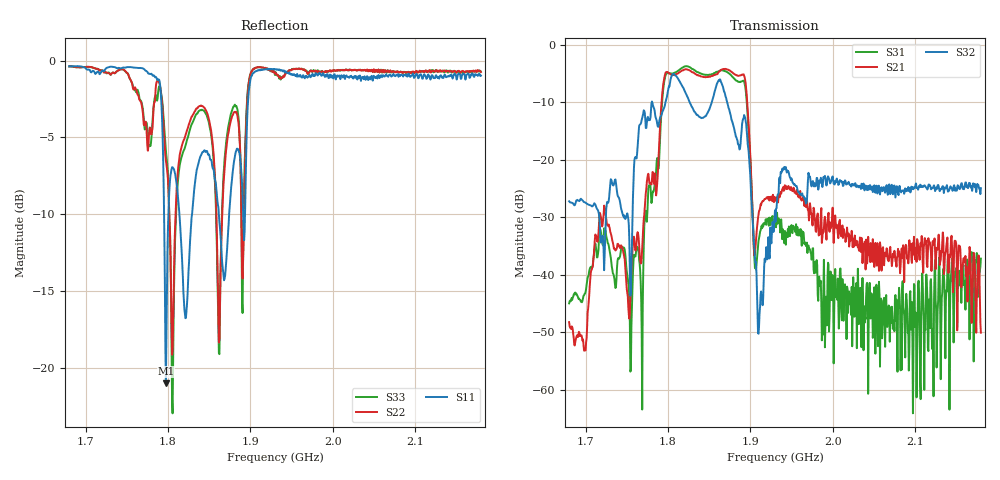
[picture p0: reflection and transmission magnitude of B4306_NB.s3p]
! Matrix data file written by TouchstoneData, EPCOS AG
! FILENAME: "B4306_02_NB.s3p_newformat"
! COMMENT: "(B4306_02_NB.s3p) Epcos AG 3/15/2011 3:53:15"
! INFO: nport=3, nfreq=801
! DATE: "Mon Apr 18 17:36:59 2011"
! USER: "Sergey Rostovtsev"
! port | pin | signal
!  1  |  1  |  in
!  2  |  3  |  out
!  3  |  4  |  out
# MHZ S MA R 50
! freq  magS11 angS11  magS12 angS12  magS13 angS13  ...
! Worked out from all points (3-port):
!   801 points, 1.68 GHz to 2.18 GHz, reference 50 ohm
!   strongest paths, dB at 1.68 GHz, 1.805 GHz, 1.93 GHz, 2.055 GHz, 2.18 GHz:
!     S32: -27.2, -5.3, -28.8, -25.1, -25.0
!     S21: -48.3, -5.3, -27.0, -36.2, -50.1
!     S31: -45.0, -5.0, -29.7, -52.4, -37.2
!   lowest |S11| = -21.0 dB at 1.798 GHz (marker M1), VSWR 1.20, Z = 41.9 - j0.826 ohm
!   |S11| at or under -10 dB: 1.795297 GHz to 1.80057 GHz (5.273 MHz wide, 0.293 % of centre); 1.814 GHz to 1.829 GHz (15.33 MHz wide, 0.841 % of centre); 1.862 GHz to 1.874 GHz (12.5 MHz wide, 0.669 % of centre) (the widest 3 of 4)
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1680  0.9573 -111.1  0.004022 2.8  0.005717 37.3
      0.003868 2.9  0.9572 -79.1  0.0435 23.7
      0.00563 37.4  0.04342 23.7  0.9568 -79.8
1723.125  0.929 -117.5  0.03847 33.3  0.02501 -156.5
          0.03854 33.5  0.9156 -87.3  0.01466 88.1
          0.02462 -156.5  0.01508 88.2  0.9214 -88.4
1754.375  0.9523 -131.4  0.006954 73.7  0.001477 123.6
          0.006659 73.7  0.8676 -101.4  0.006397 -85.7
          0.001437 123.2  0.006574 -85.7  0.8659 -102.2
1767.5  0.9452 -141.2  0.01313 69.6  0.006269 160.1
        0.01257 69.5  0.7311 -108.0  0.2109 98.5
        0.00615 160.2  0.2104 98.4  0.737 -108.6
1797.5  0.08917 -173.7  0.573 16.4  0.5507 -164.6
        0.5738 16.5  0.4717 -141.2  0.3252 -150.3
        0.5494 -164.6  0.3244 -150.4  0.5099 -140.7
1846.875  0.5077 -104.1  0.5213 179.6  0.547 1.0
          0.5215 179.7  0.6823 -91.5  0.2462 -142.0
          0.5455 1.0  0.2457 -142.1  0.6654 -90.0
1893.125  0.2789 -5.9  0.5195 -13.4  0.4591 165.3
          0.5199 -13.3  0.4009 4.2  0.2391 16.2
          0.4577 165.4  0.2383 16.2  0.459 5.5
1911.25  0.9305 -48.2  0.03634 43.0  0.02228 -140.9
         0.03639 43.2  0.9509 -41.8  0.004522 79.8
         0.02192 -140.8  0.004649 79.7  0.9514 -43.5
1930  0.9359 -65.9  0.04468 46.0  0.03296 -138.3
      0.04463 46.1  0.9059 -53.9  0.03626 105.7
      0.03277 -138.2  0.03628 105.6  0.897 -54.7
2180  0.8925 -97.9  0.003285 -3.8  0.01402 43.1
      0.003133 -3.9  0.9175 -74.2  0.05646 28.6
      0.01378 43.1  0.05645 28.6  0.9202 -75.4
